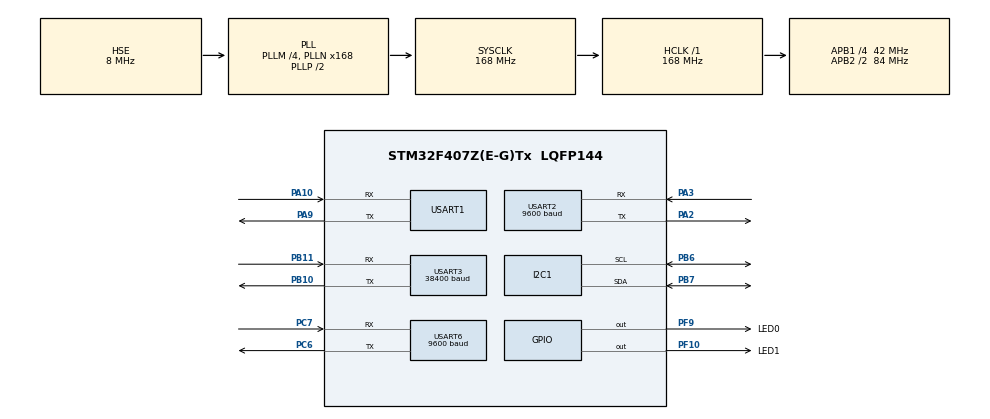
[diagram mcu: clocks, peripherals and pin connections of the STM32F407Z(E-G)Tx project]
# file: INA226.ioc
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Mcu.Family=STM32F4
Mcu.Name=STM32F407Z(E-G)Tx
Mcu.Package=LQFP144
NVIC.PriorityGroup=NVIC_PRIORITYGROUP_4
NVIC.TIM2_IRQn=true\:10\:0\:true\:false\:true\:true\:true
NVIC.TIM3_IRQn=true\:0\:0\:false\:false\:true\:true\:true
NVIC.USART3_IRQn=true\:0\:0\:false\:false\:true\:true\:true
PA10.Mode=Asynchronous
PA10.Signal=USART1_RX
PA13.Mode=Serial_Wire
PA13.Signal=SYS_JTMS-SWDIO
PA14.Mode=Serial_Wire
PA14.Signal=SYS_JTCK-SWCLK
PA2.Mode=Asynchronous
PA2.Signal=USART2_TX
PA3.Mode=Asynchronous
PA3.Signal=USART2_RX
PA9.Mode=Asynchronous
PA9.Signal=USART1_TX
PB10.Mode=Asynchronous
PB10.Signal=USART3_TX
PB11.Mode=Asynchronous
PB11.Signal=USART3_RX
PB6.Mode=I2C
PB6.Signal=I2C1_SCL
PB7.Mode=I2C
PB7.Signal=I2C1_SDA
PC6.Mode=Asynchronous
PC6.Signal=USART6_TX
PC7.Mode=Asynchronous
PC7.Signal=USART6_RX
PF10.GPIO_Label=LED1
PF10.Signal=GPIO_Output
PF9.GPIO_Label=LED0
PF9.PinState=GPIO_PIN_RESET
PF9.Signal=GPIO_Output
PH0-OSC_IN.Mode=HSE-External-Oscillator
PH0-OSC_IN.Signal=RCC_OSC_IN
PH1-OSC_OUT.Mode=HSE-External-Oscillator
PH1-OSC_OUT.Signal=RCC_OSC_OUT
ProjectManager.HeapSize=0x200
ProjectManager.StackSize=0x400
ProjectManager.TargetToolchain=SW4STM32
RCC.48MHZClocksFreq_Value=84000000
RCC.AHBFreq_Value=168000000
RCC.APB1CLKDivider=RCC_HCLK_DIV4
RCC.APB1Freq_Value=42000000
RCC.APB1TimFreq_Value=84000000
RCC.APB2CLKDivider=RCC_HCLK_DIV2
RCC.APB2Freq_Value=84000000
RCC.APB2TimFreq_Value=168000000
RCC.CortexFreq_Value=168000000
RCC.HCLKFreq_Value=168000000
RCC.HSE_VALUE=8000000
RCC.HSI_VALUE=16000000
RCC.LSE_VALUE=32768
RCC.PLLM=4
RCC.PLLN=168
RCC.PLLSourceVirtual=RCC_PLLSOURCE_HSE
RCC.SYSCLKFreq_VALUE=168000000
RCC.SYSCLKSource=RCC_SYSCLKSOURCE_PLLCLK
RCC.VCOOutputFreq_Value=336000000
TIM2.AutoReloadPreload=TIM_AUTORELOAD_PRELOAD_ENABLE
TIM2.Period=4999
TIM2.Prescaler=8399
TIM3.AutoReloadPreload=TIM_AUTORELOAD_PRELOAD_ENABLE
TIM3.Period=99
TIM3.Prescaler=8399
USART1.VirtualMode=VM_ASYNC
USART2.BaudRate=9600
USART2.VirtualMode=VM_ASYNC
USART3.BaudRate=38400
USART3.VirtualMode=VM_ASYNC
USART6.BaudRate=9600
USART6.VirtualMode=VM_ASYNC
VP_TIM2_VS_ClockSourceINT.Mode=Internal
VP_TIM3_VS_ClockSourceINT.Mode=Internal
board=custom

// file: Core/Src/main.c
/* USER CODE BEGIN Header */
/**
  ******************************************************************************
  * @file           : main.c
  * @brief          : Main program body
  ******************************************************************************
  * @attention
  *
  * <h2><center>&copy; Copyright (c) 2020 STMicroelectronics.
  * All rights reserved.</center></h2>
  *
  * This software component is licensed by ST under BSD 3-Clause license,
  * the "License"; You may not use this file except in compliance with the
  * License. You may obtain a copy of the License at:
  *                        opensource.org/licenses/BSD-3-Clause
  *
  ******************************************************************************
  */
/* USER CODE END Header */
#include "main.h"
#include "i2c.h"
#include "tim.h"
#include "usart.h"
#include "gpio.h"

/* USER CODE BEGIN Includes */
#include <stdio.h>
#include "INA226.h"
/* USER CODE END Includes */

void SystemClock_Config(void);

int main(void)
{

  /* MCU Configuration--------------------------------------------------------*/

  /* Reset of all peripherals, Initializes the Flash interface and the Systick. */
  HAL_Init();

  /* Configure the system clock */
  SystemClock_Config();

  /* Initialize all configured peripherals */
  MX_GPIO_Init();
  MX_USART1_UART_Init();
  MX_TIM2_Init();
  MX_USART2_UART_Init();
  MX_TIM3_Init();
  MX_USART3_UART_Init();
  MX_USART6_UART_Init();
  MX_I2C1_Init();
  /* USER CODE BEGIN 2 */
    printf("Initialize INA226\r\n");
    printf("-----------------------------------------------\r\n");
    // Configure INA226
    INA226_configure(INA226_AVERAGES_1, INA226_BUS_CONV_TIME_1100US, INA226_SHUNT_CONV_TIME_1100US, INA226_MODE_SHUNT_BUS_CONT);

    // Calibrate INA226. Rshunt = 0.01 ohm, Max excepted current = 4A
    INA226_calibrate(0.01, 4);

    // Display configuration
    INA226_checkConfig();
    printf("-----------------------------------------------\r\n");
  /* USER CODE END 2 */

  /* Infinite loop */
  /* USER CODE BEGIN WHILE */
  while (1)
  {
      printf("Bus voltage:   ");
      printf("%5f", INA226_readBusVoltage());
      printf(" V\r\n");

      printf("Bus power:     ");
      printf("%5f", INA226_readBusPower());
      printf(" W\r\n");

      printf("Shunt voltage: ");
      float shuntVoltage;
      shuntVoltage = INA226_readShuntVoltage();
      printf("%5f", shuntVoltage);
      printf(" V\r\n");

      printf("Shunt current: ");
     // printf("%5f", INA226_readShuntCurrent());
      printf("%5f", shuntVoltage * 10);
      printf(" A\r\n");

      printf("\r\n");
      HAL_Delay(1000);
    /* USER CODE END WHILE */

  }
}

void SystemClock_Config(void)
{
  RCC_OscInitTypeDef RCC_OscInitStruct = {0};
  RCC_ClkInitTypeDef RCC_ClkInitStruct = {0};

  /** Configure the main internal regulator output voltage
  */
  __HAL_RCC_PWR_CLK_ENABLE();
  __HAL_PWR_VOLTAGESCALING_CONFIG(PWR_REGULATOR_VOLTAGE_SCALE1);
  /** Initializes the RCC Oscillators according to the specified parameters
  * in the RCC_OscInitTypeDef structure.
  */
  RCC_OscInitStruct.OscillatorType = RCC_OSCILLATORTYPE_HSE;
  RCC_OscInitStruct.HSEState = RCC_HSE_ON;
  RCC_OscInitStruct.PLL.PLLState = RCC_PLL_ON;
  RCC_OscInitStruct.PLL.PLLSource = RCC_PLLSOURCE_HSE;
  RCC_OscInitStruct.PLL.PLLM = 4;
  RCC_OscInitStruct.PLL.PLLN = 168;
  RCC_OscInitStruct.PLL.PLLP = RCC_PLLP_DIV2;
  RCC_OscInitStruct.PLL.PLLQ = 4;
  if (HAL_RCC_OscConfig(&RCC_OscInitStruct) != HAL_OK)
  {
    Error_Handler();
  }
  /** Initializes the CPU, AHB and APB buses clocks
  */
  RCC_ClkInitStruct.ClockType = RCC_CLOCKTYPE_HCLK|RCC_CLOCKTYPE_SYSCLK
                              |RCC_CLOCKTYPE_PCLK1|RCC_CLOCKTYPE_PCLK2;
  RCC_ClkInitStruct.SYSCLKSource = RCC_SYSCLKSOURCE_PLLCLK;
  RCC_ClkInitStruct.AHBCLKDivider = RCC_SYSCLK_DIV1;
  RCC_ClkInitStruct.APB1CLKDivider = RCC_HCLK_DIV4;
  RCC_ClkInitStruct.APB2CLKDivider = RCC_HCLK_DIV2;

  if (HAL_RCC_ClockConfig(&RCC_ClkInitStruct, FLASH_LATENCY_5) != HAL_OK)
  {
    Error_Handler();
  }
}

void Error_Handler(void)
{
  __disable_irq();
  while (1)
  {
  }
}

/************************ (C) COPYRIGHT STMicroelectronics *****END OF FILE****/
